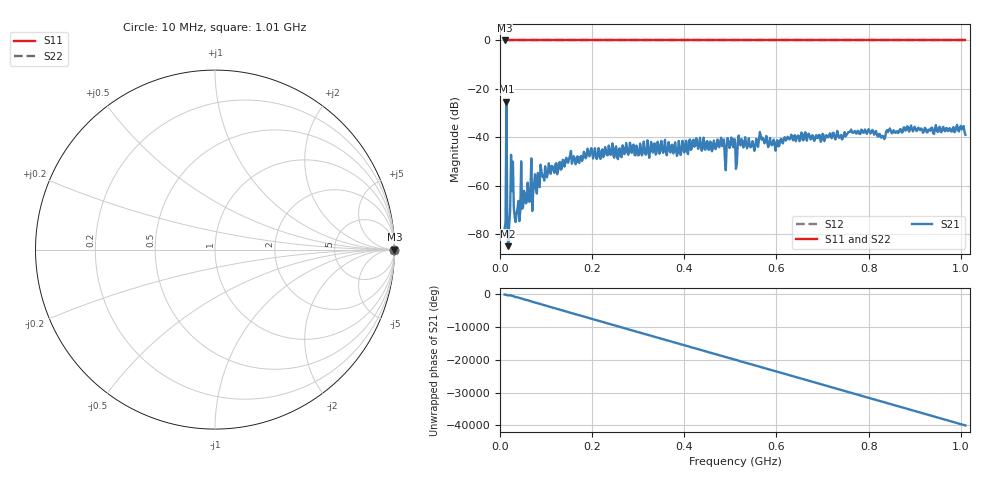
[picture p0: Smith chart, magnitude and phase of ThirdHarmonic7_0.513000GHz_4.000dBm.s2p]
! 8/17/2025 2:57:40 PM
! C:\ANRITSUVNA\TEMP\TEMP.S2P
! CHANNEL.1
! TR.MEASUREMENT
! RAW.DATA
! RF.CORRECTION.OFF
! AVERAGING.OFF
! IF.BANDWIDTH: 5KHZ
! SWEEPTYPE:  FREQ.SWEEP(Linear)
! Reference Plane Port Info
! PORT:  PORT1  PORT2
! DISTANCE:  0  m  0  m
! TIME:  0  s  0  s
! PHASE.OFFSET:  0  deg.  0  deg.
! LOSS:  0  dB  0  dB
! REF.LOSS:  0  dB  0  dB
! REF.FREQ:  0  Hz  0  Hz
! Power Info
! POWER:  -20  dBm  -20  dBm
! EFF.POWER:  -20  dBm  -20  dBm
! SOURCE.ATTEN:  0  dB  0  dB
! TEST.ATTEN:  0  dB  0  dB
# GHZ S RI R 50.0
! FREQ.GHZ  S11RE  S11IM  S21RE  S21IM  S12RE  S12IM  S22RE  S22IM
!; PortSelection: Port_12
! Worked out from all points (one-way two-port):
!   501 points, 10 MHz to 1.01 GHz, reference 50 ohm
!   highest |S21| = -25.26 dB at 14 MHz (marker M1); lowest = -85.0 dB at 18 MHz (marker M2)
!   lowest |S11| = 0.0 dB at 10 MHz (marker M3)
!   |S11| at or under -10 dB: nowhere
!   |S22| runs from 0.0 to 0.0 dB; largest |S21 - S12| = 1
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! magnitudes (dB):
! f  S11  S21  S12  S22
! 10 MHz  0.0  -77.8  0.0  0.0
! 14 MHz  0.0  -25.3  0.0  0.0
! 18 MHz  0.0  -85.0  0.0  0.0
! 20 MHz  0.0  -75.9  0.0  0.0
! 26 MHz  0.0  -62.3  0.0  0.0
! 34 MHz  0.0  -75.0  0.0  0.0
! 38 MHz  0.0  -69.5  0.0  0.0
! 50 MHz  0.0  -68.9  0.0  0.0
! 60 MHz  0.0  -58.8  0.0  0.0
! 86 MHz  0.0  -60.7  0.0  0.0
! 178 MHz  0.0  -49.9  0.0  0.0
! 344 MHz  0.0  -43.1  0.0  0.0
! 482 MHz  0.0  -43.6  0.0  0.0
! 486 MHz  0.0  -40.9  0.0  0.0
! 506 MHz  0.0  -44.2  0.0  0.0
! 510 MHz  0.0  -41.1  0.0  0.0
! 522 MHz  0.0  -43.4  0.0  0.0
! 566 MHz  0.0  -39.6  0.0  0.0
! 602 MHz  0.0  -41.2  0.0  0.0
! 678 MHz  0.0  -39.1  0.0  0.0
! 844 MHz  0.0  -37.0  0.0  0.0
! 1.01 GHz  0.0  -39.0  0.0  0.0
